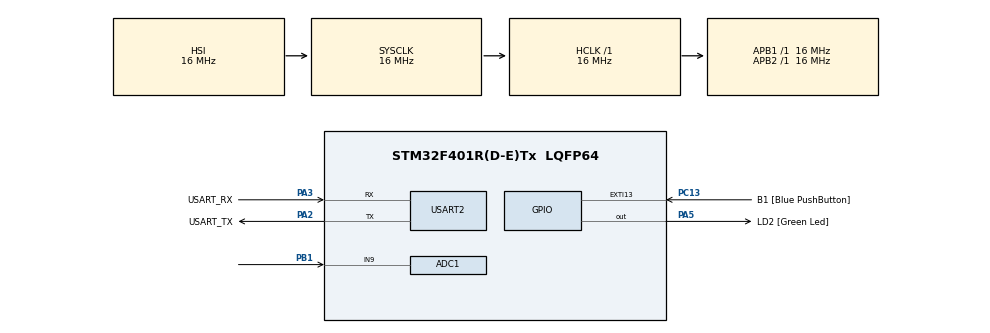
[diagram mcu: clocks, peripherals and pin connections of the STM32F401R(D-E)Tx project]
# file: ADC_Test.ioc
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ADC1.Channel-1\#ChannelRegularConversion=ADC_CHANNEL_9
ADC1.NbrOfConversionFlag=1
ADC1.Rank-1\#ChannelRegularConversion=1
ADC1.Resolution=ADC_RESOLUTION_8B
ADC1.SamplingTime-1\#ChannelRegularConversion=ADC_SAMPLETIME_3CYCLES
ADC1.ScanConvMode=ENABLE
ADC1.master=1
Mcu.Family=STM32F4
Mcu.Name=STM32F401R(D-E)Tx
Mcu.Package=LQFP64
NVIC.PriorityGroup=NVIC_PRIORITYGROUP_4
PA13.GPIO_Label=TMS
PA13.Mode=Trace_Asynchronous_SW
PA13.Signal=SYS_JTMS-SWDIO
PA14.GPIO_Label=TCK
PA14.Mode=Trace_Asynchronous_SW
PA14.Signal=SYS_JTCK-SWCLK
PA2.GPIO_Label=USART_TX
PA2.GPIO_Mode=GPIO_MODE_AF_PP
PA2.GPIO_PuPd=GPIO_NOPULL
PA2.GPIO_Speed=GPIO_SPEED_FREQ_LOW
PA2.Mode=Asynchronous
PA2.Signal=USART2_TX
PA3.GPIO_Label=USART_RX
PA3.GPIO_Mode=GPIO_MODE_AF_PP
PA3.GPIO_PuPd=GPIO_NOPULL
PA3.GPIO_Speed=GPIO_SPEED_FREQ_LOW
PA3.Mode=Asynchronous
PA3.Signal=USART2_RX
PA5.GPIO_Label=LD2 [Green Led]
PA5.GPIO_Mode=GPIO_MODE_OUTPUT_PP
PA5.GPIO_PuPd=GPIO_NOPULL
PA5.GPIO_Speed=GPIO_SPEED_FREQ_LOW
PA5.Signal=GPIO_Output
PB1.Signal=ADCx_IN9
PB3.GPIO_Label=SWO
PB3.Mode=Trace_Asynchronous_SW
PB3.Signal=SYS_JTDO-SWO
PC13-ANTI_TAMP.GPIO_Label=B1 [Blue PushButton]
PC13-ANTI_TAMP.GPIO_ModeDefaultEXTI=GPIO_MODE_IT_FALLING
PC13-ANTI_TAMP.GPIO_PuPd=GPIO_NOPULL
PC13-ANTI_TAMP.Signal=GPXTI13
PC14-OSC32_IN.Mode=LSE-External-Oscillator
PC14-OSC32_IN.Signal=RCC_OSC32_IN
PC15-OSC32_OUT.Mode=LSE-External-Oscillator
PC15-OSC32_OUT.Signal=RCC_OSC32_OUT
PH0\ -\ OSC_IN.Mode=HSE-External-Clock-Source
PH0\ -\ OSC_IN.Signal=RCC_OSC_IN
PH1\ -\ OSC_OUT.Mode=HSE-External-Clock-Source
PH1\ -\ OSC_OUT.Signal=RCC_OSC_OUT
ProjectManager.HeapSize=0x200
ProjectManager.StackSize=0x400
ProjectManager.TargetToolchain=STM32CubeIDE
RCC.48MHZClocksFreq_Value=48000000
RCC.AHBFreq_Value=16000000
RCC.APB1Freq_Value=16000000
RCC.APB1TimFreq_Value=16000000
RCC.APB2Freq_Value=16000000
RCC.APB2TimFreq_Value=16000000
RCC.CortexFreq_Value=16000000
RCC.HCLKFreq_Value=16000000
RCC.HSE_VALUE=8000000
RCC.HSI_VALUE=16000000
RCC.PLLN=336
RCC.PLLP=RCC_PLLP_DIV4
RCC.PLLQ=7
RCC.SYSCLKFreq_VALUE=16000000
RCC.VCOOutputFreq_Value=336000000
SH.ADCx_IN9.0=ADC1_IN9,IN9
USART2.VirtualMode=VM_ASYNC
board=NUCLEO-F401RE

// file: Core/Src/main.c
/* USER CODE BEGIN Header */
/**
  ******************************************************************************
  * @file           : main.c
  * @brief          : Main program body
  ******************************************************************************
  * @attention
  *
  * Copyright (c) 2026 STMicroelectronics.
  * All rights reserved.
  *
  * This software is licensed under terms that can be found in the LICENSE file
  * in the root directory of this software component.
  * If no LICENSE file comes with this software, it is provided AS-IS.
  *
  ******************************************************************************
  */
/* USER CODE END Header */
#include "main.h"

/* USER CODE BEGIN Includes */
#include <stdio.h>
#include <string.h>
/* USER CODE END Includes */

ADC_HandleTypeDef hadc1;

UART_HandleTypeDef huart2;

void SystemClock_Config(void);
static void MX_GPIO_Init(void);
static void MX_USART2_UART_Init(void);
static void MX_ADC1_Init(void);
/* USER CODE BEGIN PFP */
static void ADC_Select_CH(int CH);
/* USER CODE END PFP */

/* USER CODE BEGIN 0 */
void ADC_Select_CH(int CH)
{
	ADC_ChannelConfTypeDef sConfig = {0};
	switch(CH)
	{
	case 0:
	sConfig.Channel = ADC_CHANNEL_0;
	sConfig.Rank = 1;
	if (HAL_ADC_ConfigChannel(&hadc1, &sConfig) != HAL_OK)
	{
	Error_Handler();
	}
	break;
	case 1:
	sConfig.Channel = ADC_CHANNEL_1;
	sConfig.Rank = 1;
	if (HAL_ADC_ConfigChannel(&hadc1, &sConfig) != HAL_OK)
	{
	Error_Handler();
	}
	break;
	case 2:
	sConfig.Channel = ADC_CHANNEL_2;
	sConfig.Rank = 1;
	if (HAL_ADC_ConfigChannel(&hadc1, &sConfig) != HAL_OK)
	{
	Error_Handler();
	}
	break;
	case 3:
	sConfig.Channel = ADC_CHANNEL_3;
	sConfig.Rank = 1;
	if (HAL_ADC_ConfigChannel(&hadc1, &sConfig) != HAL_OK)
	{
	Error_Handler();
	}
	break;
	case 4:
	sConfig.Channel = ADC_CHANNEL_4;
	sConfig.Rank = 1;
	if (HAL_ADC_ConfigChannel(&hadc1, &sConfig) != HAL_OK)
	{
	Error_Handler();
	}
	break;
	case 5:
	sConfig.Channel = ADC_CHANNEL_5;
	sConfig.Rank = 1;
	if (HAL_ADC_ConfigChannel(&hadc1, &sConfig) != HAL_OK)
	{
	Error_Handler();
	}
	break;
	case 6:
	sConfig.Channel = ADC_CHANNEL_6;
	sConfig.Rank = 1;
	if (HAL_ADC_ConfigChannel(&hadc1, &sConfig) != HAL_OK)
	{
	Error_Handler();
	}
	break;
	case 7:
	sConfig.Channel = ADC_CHANNEL_7;
	sConfig.Rank = 1;
	if (HAL_ADC_ConfigChannel(&hadc1, &sConfig) != HAL_OK)
	{
	Error_Handler();
	}
	break;
	case 8:
	sConfig.Channel = ADC_CHANNEL_8;
	sConfig.Rank = 1;
	if (HAL_ADC_ConfigChannel(&hadc1, &sConfig) != HAL_OK)
	{
	Error_Handler();
	}
	break;
	case 9:
	sConfig.Channel = ADC_CHANNEL_9;
	sConfig.Rank = 1;
	if (HAL_ADC_ConfigChannel(&hadc1, &sConfig) != HAL_OK)
	{
	Error_Handler();
	}
	break;
	case 10:
	sConfig.Channel = ADC_CHANNEL_10;
	sConfig.Rank = 1;
	if (HAL_ADC_ConfigChannel(&hadc1, &sConfig) != HAL_OK)
	{
	Error_Handler();
	}
	break;
	case 11:
	sConfig.Channel = ADC_CHANNEL_11;
	sConfig.Rank = 1;
	if (HAL_ADC_ConfigChannel(&hadc1, &sConfig) != HAL_OK)
	{
	Error_Handler();
	}
	break;
	case 12:
	sConfig.Channel = ADC_CHANNEL_12;
	sConfig.Rank = 1;
	if (HAL_ADC_ConfigChannel(&hadc1, &sConfig) != HAL_OK)
	{
	Error_Handler();
	}
	break;
	case 13:
	sConfig.Channel = ADC_CHANNEL_13;
	sConfig.Rank = 1;
	if (HAL_ADC_ConfigChannel(&hadc1, &sConfig) != HAL_OK)
	{
	Error_Handler();
	}
	break;
	case 14:
	sConfig.Channel = ADC_CHANNEL_14;
	sConfig.Rank = 1;
	if (HAL_ADC_ConfigChannel(&hadc1, &sConfig) != HAL_OK)
	{
	Error_Handler();
	}
	break;
	case 15:
	sConfig.Channel = ADC_CHANNEL_15;
	sConfig.Rank = 1;
	if (HAL_ADC_ConfigChannel(&hadc1, &sConfig) != HAL_OK)
	{
	Error_Handler();
	}
	break;
	}
}
/* USER CODE END 0 */

int main(void)
{

  /* USER CODE BEGIN 1 */
	uint32_t adc_value = 0;
	uint8_t txd_msg_buffer[64] = {0};
  /* USER CODE END 1 */

  /* MCU Configuration--------------------------------------------------------*/

  /* Reset of all peripherals, Initializes the Flash interface and the Systick. */
  HAL_Init();

  /* Configure the system clock */
  SystemClock_Config();

  /* Initialize all configured peripherals */
  MX_GPIO_Init();
  MX_USART2_UART_Init();
  MX_ADC1_Init();
  /* USER CODE BEGIN 2 */
  ADC_Select_CH(9);
  /* USER CODE END 2 */

  /* Infinite loop */
  while (1)
  {

      /* USER CODE BEGIN 3 */

      // Start one ADC conversion.
      if (HAL_ADC_Start(&hadc1) != HAL_OK)
      {
          Error_Handler();
      }

      // Wait for the conversion to finish, up to 100 ms.
      if (HAL_ADC_PollForConversion(&hadc1, 100) == HAL_OK)
      {
          // Read the result: 0 to 255 with 8-bit resolution.
          adc_value = HAL_ADC_GetValue(&hadc1);

          // Prepare a line of text.
          sprintf((char *)txd_msg_buffer,"DIGITIZED ANALOG VALUE FOR CH9: %lu\r\n",(unsigned long)adc_value);

          // Send the line to PuTTY.
          HAL_UART_Transmit(&huart2,txd_msg_buffer,strlen((char *)txd_msg_buffer),1000);
      }
      else
      {
          Error_Handler();
      }

      // Stop the ADC before the next measurement.
      HAL_ADC_Stop(&hadc1);

      // Take another reading after half a second.
      HAL_Delay(500);
  }
  /* USER CODE END 3 */
}

void SystemClock_Config(void)
{
  RCC_OscInitTypeDef RCC_OscInitStruct = {0};
  RCC_ClkInitTypeDef RCC_ClkInitStruct = {0};

  /** Configure the main internal regulator output voltage
  */
  __HAL_RCC_PWR_CLK_ENABLE();
  __HAL_PWR_VOLTAGESCALING_CONFIG(PWR_REGULATOR_VOLTAGE_SCALE2);

  /** Initializes the RCC Oscillators according to the specified parameters
  * in the RCC_OscInitTypeDef structure.
  */
  RCC_OscInitStruct.OscillatorType = RCC_OSCILLATORTYPE_HSI;
  RCC_OscInitStruct.HSIState = RCC_HSI_ON;
  RCC_OscInitStruct.HSICalibrationValue = RCC_HSICALIBRATION_DEFAULT;
  RCC_OscInitStruct.PLL.PLLState = RCC_PLL_NONE;
  if (HAL_RCC_OscConfig(&RCC_OscInitStruct) != HAL_OK)
  {
    Error_Handler();
  }

  /** Initializes the CPU, AHB and APB buses clocks
  */
  RCC_ClkInitStruct.ClockType = RCC_CLOCKTYPE_HCLK|RCC_CLOCKTYPE_SYSCLK
                              |RCC_CLOCKTYPE_PCLK1|RCC_CLOCKTYPE_PCLK2;
  RCC_ClkInitStruct.SYSCLKSource = RCC_SYSCLKSOURCE_HSI;
  RCC_ClkInitStruct.AHBCLKDivider = RCC_SYSCLK_DIV1;
  RCC_ClkInitStruct.APB1CLKDivider = RCC_HCLK_DIV1;
  RCC_ClkInitStruct.APB2CLKDivider = RCC_HCLK_DIV1;

  if (HAL_RCC_ClockConfig(&RCC_ClkInitStruct, FLASH_LATENCY_0) != HAL_OK)
  {
    Error_Handler();
  }
}

static void MX_ADC1_Init(void)
{

  ADC_ChannelConfTypeDef sConfig = {0};

  /** Configure the global features of the ADC (Clock, Resolution, Data Alignment and number of conversion)
  */
  hadc1.Instance = ADC1;
  hadc1.Init.ClockPrescaler = ADC_CLOCK_SYNC_PCLK_DIV2;
  hadc1.Init.Resolution = ADC_RESOLUTION_8B;
  hadc1.Init.ScanConvMode = ENABLE;
  hadc1.Init.ContinuousConvMode = DISABLE;
  hadc1.Init.DiscontinuousConvMode = DISABLE;
  hadc1.Init.ExternalTrigConvEdge = ADC_EXTERNALTRIGCONVEDGE_NONE;
  hadc1.Init.ExternalTrigConv = ADC_SOFTWARE_START;
  hadc1.Init.DataAlign = ADC_DATAALIGN_RIGHT;
  hadc1.Init.NbrOfConversion = 1;
  hadc1.Init.DMAContinuousRequests = DISABLE;
  hadc1.Init.EOCSelection = ADC_EOC_SINGLE_CONV;
  if (HAL_ADC_Init(&hadc1) != HAL_OK)
  {
    Error_Handler();
  }

  /** Configure for the selected ADC regular channel its corresponding rank in the sequencer and its sample time.
  */
  sConfig.Channel = ADC_CHANNEL_9;
  sConfig.Rank = 1;
  sConfig.SamplingTime = ADC_SAMPLETIME_3CYCLES;
  if (HAL_ADC_ConfigChannel(&hadc1, &sConfig) != HAL_OK)
  {
    Error_Handler();
  }

}

static void MX_USART2_UART_Init(void)
{

  huart2.Instance = USART2;
  huart2.Init.BaudRate = 115200;
  huart2.Init.WordLength = UART_WORDLENGTH_8B;
  huart2.Init.StopBits = UART_STOPBITS_1;
  huart2.Init.Parity = UART_PARITY_NONE;
  huart2.Init.Mode = UART_MODE_TX_RX;
  huart2.Init.HwFlowCtl = UART_HWCONTROL_NONE;
  huart2.Init.OverSampling = UART_OVERSAMPLING_16;
  if (HAL_UART_Init(&huart2) != HAL_OK)
  {
    Error_Handler();
  }

}

static void MX_GPIO_Init(void)
{
  GPIO_InitTypeDef GPIO_InitStruct = {0};

  /* GPIO Ports Clock Enable */
  __HAL_RCC_GPIOC_CLK_ENABLE();
  __HAL_RCC_GPIOH_CLK_ENABLE();
  __HAL_RCC_GPIOA_CLK_ENABLE();
  __HAL_RCC_GPIOB_CLK_ENABLE();

  /*Configure GPIO pin Output Level */
  HAL_GPIO_WritePin(LD2_GPIO_Port, LD2_Pin, GPIO_PIN_RESET);

  /*Configure GPIO pin : B1_Pin */
  GPIO_InitStruct.Pin = B1_Pin;
  GPIO_InitStruct.Mode = GPIO_MODE_IT_FALLING;
  GPIO_InitStruct.Pull = GPIO_NOPULL;
  HAL_GPIO_Init(B1_GPIO_Port, &GPIO_InitStruct);

  /*Configure GPIO pin : LD2_Pin */
  GPIO_InitStruct.Pin = LD2_Pin;
  GPIO_InitStruct.Mode = GPIO_MODE_OUTPUT_PP;
  GPIO_InitStruct.Pull = GPIO_NOPULL;
  GPIO_InitStruct.Speed = GPIO_SPEED_FREQ_LOW;
  HAL_GPIO_Init(LD2_GPIO_Port, &GPIO_InitStruct);

}

void Error_Handler(void)
{
  __disable_irq();
  while (1)
  {
  }
}
